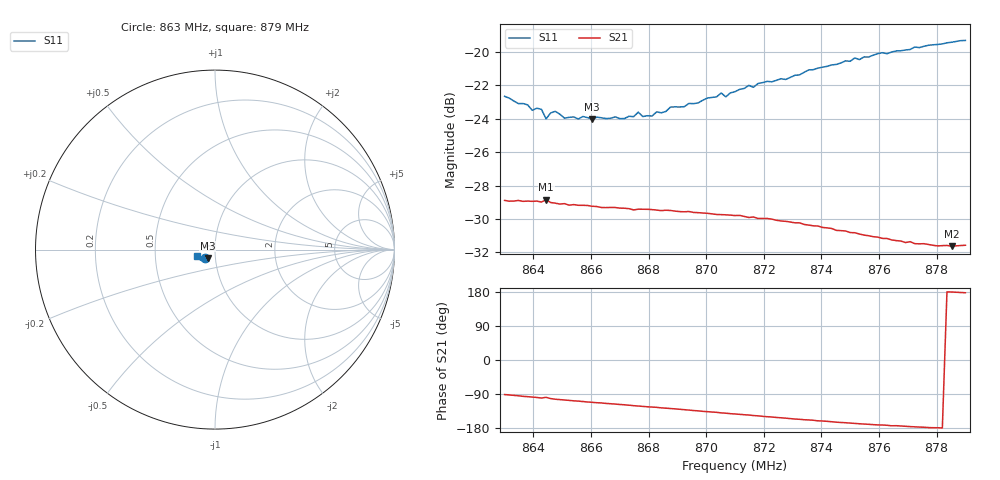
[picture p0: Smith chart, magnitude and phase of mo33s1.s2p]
# HZ S RI R 50
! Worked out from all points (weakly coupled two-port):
!   101 points, 863 MHz to 879 MHz, reference 50 ohm
!   highest |S21| = -28.85 dB at 864.44 MHz (marker M1); lowest = -31.6 dB at 878.52 MHz (marker M2)
!   lowest |S11| = -24.0 dB at 866.04 MHz (marker M3), VSWR 1.13, Z = 45.8 - j4.34 ohm
!   |S11| at or under -10 dB: start of sweep to end of sweep
!   S12 and S22 are empty: the file has one direction only
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8.63e8  -0.0556 -0.0482  -0.000733 -0.0359  0 0  0 0
8.638e8  -0.0516 -0.0463  -0.00422 -0.0355  0 0  0 0
8.6396e8  -0.0499 -0.0444  -0.00483 -0.0354  0 0  0 0
8.6428e8  -0.0476 -0.0476  -0.0064 -0.035  0 0  0 0
8.6444e8  -0.0446 -0.0444  -0.00529 -0.0357  0 0  0 0
8.6476e8  -0.0473 -0.0465  -0.00824 -0.0343  0 0  0 0
8.6508e8  -0.0443 -0.0452  -0.00942 -0.0339  0 0  0 0
8.6572e8  -0.0466 -0.0439  -0.0117 -0.0327  0 0  0 0
8.6604e8  -0.0415 -0.0471  -0.0127 -0.0321  0 0  0 0
8.6716e8  -0.0396 -0.0492  -0.0161 -0.03  0 0  0 0
8.6764e8  -0.0409 -0.0518  -0.0176 -0.0289  0 0  0 0
8.678e8  -0.0398 -0.0501  -0.0182 -0.0285  0 0  0 0
8.6844e8  -0.0394 -0.0526  -0.0198 -0.027  0 0  0 0
8.6876e8  -0.0402 -0.0553  -0.0207 -0.0264  0 0  0 0
8.6972e8  -0.0414 -0.0568  -0.023 -0.0237  0 0  0 0
8.7052e8  -0.0447 -0.0606  -0.0248 -0.0211  0 0  0 0
8.7068e8  -0.0433 -0.0592  -0.0251 -0.0208  0 0  0 0
8.71e8  -0.046 -0.0605  -0.0256 -0.0198  0 0  0 0
8.7372e8  -0.0606 -0.0644  -0.0282 -0.0108  0 0  0 0
8.7644e8  -0.0828 -0.0559  -0.0272 -0.00305  0 0  0 0
8.7852e8  -0.0977 -0.0431  -0.0262 0.000246  0 0  0 0
8.79e8  -0.1012 -0.038  -0.0264 0.00118  0 0  0 0
